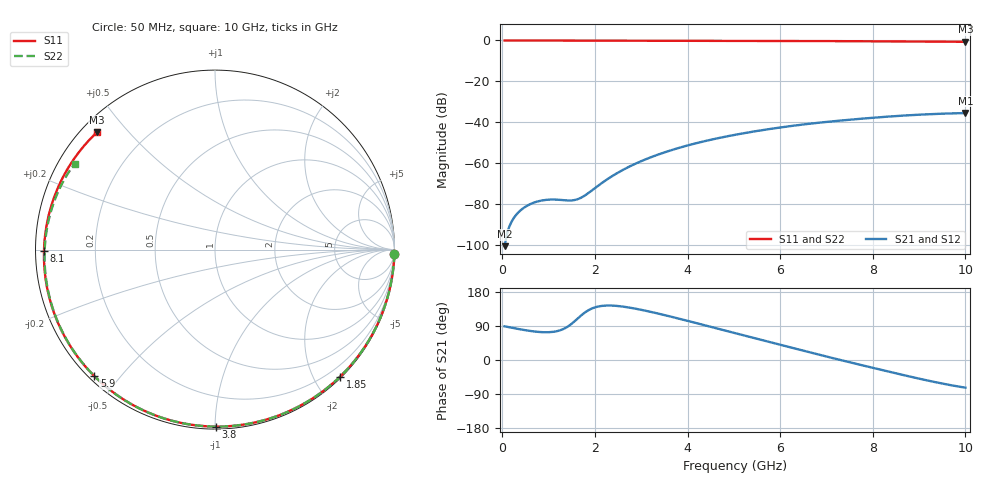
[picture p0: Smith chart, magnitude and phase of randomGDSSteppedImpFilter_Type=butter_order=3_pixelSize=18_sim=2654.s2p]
! freq	dB(S11)	phase(S11)	dB(S12)	phase(S12)
!  dB(S21)	phase(S21)	dB(S22)	phase(S22)
!S-par simulation data
#  GHz  S  DB  R 50
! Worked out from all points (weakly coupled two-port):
!   200 points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, 50 MHz to 10 GHz, reference 50 ohm
!   highest |S21| = -35.43 dB at 10 GHz (marker M1); lowest = -100.4 dB at 50 MHz (marker M2)
!   lowest |S11| = -0.7 dB at 10 GHz (marker M3), VSWR 26.53, Z = 2.2 + j20.6 ohm
!   |S11| at or under -10 dB: nowhere
!   |S22| runs from -0.8 to 0.0 dB; largest |S21 - S12| = 0
!   S11 on the Smith chart (normalised r, x): 50 MHz: 0, -90; 1.85 GHz: 0.02, -2.39; 3.8 GHz: 0.01, -1.00; 5.9 GHz: 0.02, -0.43; 8.1 GHz: 0.02, -0.00; 10 GHz: 0.04, +0.41
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0.05  -0.00 -1.3  -100.35 88.8  -100.35 88.8  -0.00 -1.2
0.6  -0.02 -15.0  -79.88 76.7  -79.88 76.7  -0.02 -14.8
0.8  -0.03 -20.0  -78.32 73.9  -78.32 73.9  -0.03 -19.6
1  -0.03 -24.9  -77.67 73.3  -77.67 73.3  -0.03 -24.5
1.5  -0.05 -37.1  -78.03 95.8  -78.03 95.8  -0.05 -36.5
1.6  -0.05 -39.5  -77.63 106.4  -77.63 106.4  -0.05 -38.8
1.75  -0.05 -43.1  -76.10 122.2  -76.10 122.2  -0.05 -42.4
1.85  -0.06 -45.5  -74.59 130.6  -74.59 130.6  -0.06 -44.7
2.25  -0.07 -54.9  -67.98 143.7  -67.98 143.7  -0.07 -53.9
2.55  -0.08 -61.9  -63.82 141.7  -63.82 141.7  -0.08 -60.7
2.95  -0.09 -71.0  -59.37 133.7  -59.37 133.7  -0.09 -69.6
3.4  -0.11 -81.0  -55.39 121.5  -55.39 121.5  -0.10 -79.3
3.8  -0.12 -89.8  -52.50 109.6  -52.50 109.6  -0.12 -87.7
4.4  -0.15 -102.6  -48.97 90.8  -48.97 90.8  -0.14 -100.0
5.05  -0.18 -116.2  -45.92 70.2  -45.92 70.2  -0.17 -112.8
5.9  -0.23 -133.7  -42.78 43.4  -42.78 43.4  -0.22 -129.1
6.7  -0.29 -150.0  -40.46 18.4  -40.46 18.4  -0.27 -144.0
7.4  -0.35 -164.5  -38.88 -3.0  -38.88 -3.0  -0.33 -157.1
8.1  -0.42 -179.6  -37.54 -23.5  -37.54 -23.5  -0.40 -170.4
8.35  -0.45 174.9  -37.12 -30.8  -37.12 -30.8  -0.43 -175.3
9.2  -0.55 155.3  -36.00 -54.6  -36.00 -54.6  -0.55 167.3
10  -0.66 135.2  -35.43 -73.0  -35.43 -73.0  -0.76 148.6
